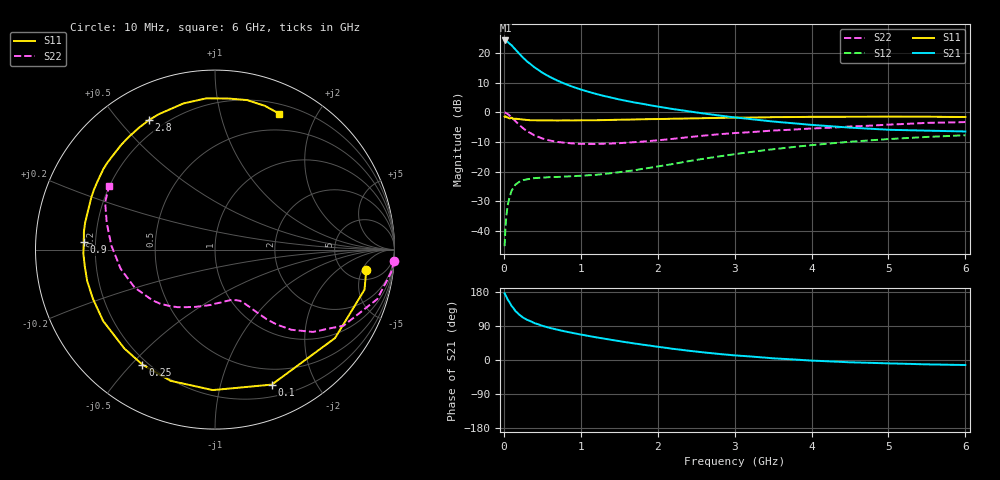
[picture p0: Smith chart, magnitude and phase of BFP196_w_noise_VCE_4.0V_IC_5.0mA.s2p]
! Infineon Technologies  Discrete & RF Semiconductors
! BFP196
! VCE =  4.0 V,  IC =  5.0 mA
! Common Emitter S-Parameters:  Jan 2017
# GHz  S  MA  R  50
!  f  S11  S21  S12  S22
! GHz  MAG  ANG  MAG  ANG  MAG  ANG  MAG  ANG
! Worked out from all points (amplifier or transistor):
!   77 points, 10 MHz to 6 GHz, reference 50 ohm
!   highest |S21| = 24.3 dB at 20 MHz (marker M1)
!   |S21| within 3 dB of that: start of sweep to 148.3 MHz
!   unconditionally stable (mu >= 1): 1.173 GHz to 2.366 GHz
!   at 130 MHz: K = 0.14, MSG = 23.5 dB, |S12| = -25.2 dB
!   at 2.2 GHz: K = 1.04, MAG = 8.0 dB, |S12| = -17.4 dB
!   at 6 GHz: K = 0.96, MSG = 0.6 dB, |S12| = -7.7 dB
!   lowest NFmin = 1.01 dB at 450 MHz
!   S11 on the Smith chart (normalised r, x): 10 MHz: 7.42, -6.02; 100 MHz: 0.32, -1.46; 250 MHz: 0.18, -0.54; 900 MHz: 0.15, +0.03; 2.8 GHz: 0.14, +0.60; 6 GHz: 0.30, +1.54
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0.01  0.8502 -7.6  16.33 176.0  0.0055 84.6  1 -3.5
0.02  0.8624 -15.0  16.45 171.9  0.0109 84.7  0.9905 -7.2
0.05  0.8308 -36.4  15.6 159.7  0.027 70.9  0.9449 -17.0
0.1  0.816 -67.2  13.71 142.8  0.0473 57.8  0.8323 -30.6
0.15  0.7828 -90.9  11.59 129.5  0.0602 46.2  0.7121 -40.1
0.2  0.7719 -108.7  9.845 119.8  0.0672 39.5  0.6169 -46.4
0.25  0.7575 -122.3  8.428 111.9  0.0718 34.6  0.5413 -50.5
0.3  0.7474 -132.5  7.305 106.3  0.0741 30.9  0.4836 -53.4
0.4  0.7392 -147.4  5.755 97.1  0.0778 27.4  0.4084 -56.9
0.5  0.7332 -158.0  4.699 90.3  0.0791 25.7  0.3634 -59.6
0.6  0.7334 -166.2  3.978 84.6  0.0808 24.9  0.3348 -61.9
0.7  0.7313 -172.4  3.434 79.8  0.0813 25.5  0.3166 -64.2
0.9  0.7319 176.8  2.699 71.1  0.0839 27.8  0.2993 -69.8
1.1  0.7391 168.3  2.233 63.5  0.0868 31.5  0.2939 -76.1
1.3  0.7421 160.6  1.902 56.5  0.0913 35.4  0.2962 -83.2
1.6  0.756 150.5  1.559 46.6  0.1017 41.2  0.3088 -94.2
2.1  0.7771 134.9  1.198 32.3  0.1283 47.4  0.3476 -113.0
2.8  0.8097 117.2  0.888 15.9  0.1808 48.2  0.4286 -135.2
3.1  0.8179 110.5  0.799 10.8  0.2054 45.9  0.4559 -144.0
4.1  0.8429 91.5  0.603 -2.4  0.2878 35.4  0.542 -171.4
5.1  0.8501 76.5  0.506 -9.4  0.3607 21.9  0.6299 163.9
6  0.8374 64.7  0.477 -13.3  0.412 9.9  0.6879 149.0
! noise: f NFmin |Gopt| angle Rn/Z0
0.45  1.01  0.42  127  0.08
0.9  1.47  0.55  170  0.06
1.9  2.9  0.74  -142  0.31
2.4  3.55  0.76  -125  0.95
